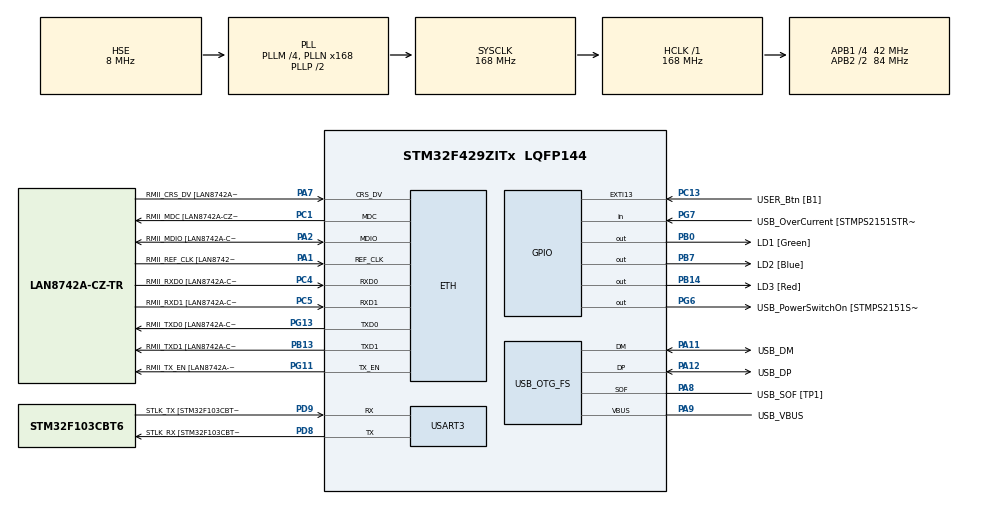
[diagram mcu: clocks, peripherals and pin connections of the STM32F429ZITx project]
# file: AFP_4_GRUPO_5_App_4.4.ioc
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ETH.MediaInterface=HAL_ETH_RMII_MODE
ETH.PHY_Name=LAN8742A_PHY_ADDRESS
ETH.PHY_Value=0
ETH.PhyAddress=0
Mcu.Family=STM32F4
Mcu.Name=STM32F429ZITx
Mcu.Package=LQFP144
NVIC.PriorityGroup=NVIC_PRIORITYGROUP_4
PA1.GPIO_Label=RMII_REF_CLK [LAN8742A-CZ-TR_REFCLK0]
PA1.Mode=RMII
PA1.Signal=ETH_REF_CLK
PA10.GPIO_Label=USB_ID
PA10.Signal=USB_OTG_FS_ID
PA11.GPIO_Label=USB_DM
PA11.Mode=Device_Only
PA11.Signal=USB_OTG_FS_DM
PA12.GPIO_Label=USB_DP
PA12.Mode=Device_Only
PA12.Signal=USB_OTG_FS_DP
PA13.GPIO_Label=TMS
PA13.Mode=Serial_Wire
PA13.Signal=SYS_JTMS-SWDIO
PA14.GPIO_Label=TCK
PA14.Mode=Serial_Wire
PA14.Signal=SYS_JTCK-SWCLK
PA2.GPIO_Label=RMII_MDIO [LAN8742A-CZ-TR_MDIO]
PA2.Mode=RMII
PA2.Signal=ETH_MDIO
PA7.GPIO_Label=RMII_CRS_DV [LAN8742A-CZ-TR_CRS_DV]
PA7.Mode=RMII
PA7.Signal=ETH_CRS_DV
PA8.GPIO_Label=USB_SOF [TP1]
PA8.Mode=Activate_SOF_FS
PA8.Signal=USB_OTG_FS_SOF
PA9.GPIO_Label=USB_VBUS
PA9.Mode=Activate_VBUS
PA9.Signal=USB_OTG_FS_VBUS
PB0.GPIO_Label=LD1 [Green]
PB0.Signal=GPIO_Output
PB13.GPIO_Label=RMII_TXD1 [LAN8742A-CZ-TR_TXD1]
PB13.Mode=RMII
PB13.Signal=ETH_TXD1
PB14.GPIO_Label=LD3 [Red]
PB14.Signal=GPIO_Output
PB7.GPIO_Label=LD2 [Blue]
PB7.Signal=GPIO_Output
PC1.GPIO_Label=RMII_MDC [LAN8742A-CZ-TR_MDC]
PC1.Mode=RMII
PC1.Signal=ETH_MDC
PC13.GPIO_Label=USER_Btn [B1]
PC13.Signal=GPXTI13
PC14/OSC32_IN.Mode=LSE-External-Oscillator
PC14/OSC32_IN.Signal=RCC_OSC32_IN
PC15/OSC32_OUT.Mode=LSE-External-Oscillator
PC15/OSC32_OUT.Signal=RCC_OSC32_OUT
PC4.GPIO_Label=RMII_RXD0 [LAN8742A-CZ-TR_RXD0]
PC4.Mode=RMII
PC4.Signal=ETH_RXD0
PC5.GPIO_Label=RMII_RXD1 [LAN8742A-CZ-TR_RXD1]
PC5.Mode=RMII
PC5.Signal=ETH_RXD1
PD8.GPIO_Label=STLK_RX [STM32F103CBT6_PA3]
PD8.Mode=Asynchronous
PD8.Signal=USART3_TX
PD9.GPIO_Label=STLK_TX [STM32F103CBT6_PA2]
PD9.Mode=Asynchronous
PD9.Signal=USART3_RX
PG11.GPIO_Label=RMII_TX_EN [LAN8742A-CZ-TR_TXEN]
PG11.Mode=RMII
PG11.Signal=ETH_TX_EN
PG13.GPIO_Label=RMII_TXD0 [LAN8742A-CZ-TR_TXD0]
PG13.Mode=RMII
PG13.Signal=ETH_TXD0
PG6.GPIO_Label=USB_PowerSwitchOn [STMPS2151STR_EN]
PG6.Signal=GPIO_Output
PG7.GPIO_Label=USB_OverCurrent [STMPS2151STR_FAULT]
PG7.Signal=GPIO_Input
PH0/OSC_IN.GPIO_Label=MCO [STM32F103CBT6_PA8]
PH0/OSC_IN.Mode=HSE-External-Clock-Source
PH0/OSC_IN.Signal=RCC_OSC_IN
PH1/OSC_OUT.Mode=HSE-External-Clock-Source
PH1/OSC_OUT.Signal=RCC_OSC_OUT
ProjectManager.HeapSize=0x200
ProjectManager.StackSize=0x400
ProjectManager.TargetToolchain=STM32CubeIDE
RCC.48MHZClocksFreq_Value=48000000
RCC.AHBFreq_Value=168000000
RCC.APB1CLKDivider=RCC_HCLK_DIV4
RCC.APB1Freq_Value=42000000
RCC.APB1TimFreq_Value=84000000
RCC.APB2CLKDivider=RCC_HCLK_DIV2
RCC.APB2Freq_Value=84000000
RCC.APB2TimCLKDivider=2
RCC.APB2TimFreq_Value=168000000
RCC.CortexFreq_Value=168000000
RCC.HCLKFreq_Value=168000000
RCC.HSE_VALUE=8000000
RCC.HSI_VALUE=16000000
RCC.PLLM=4
RCC.PLLMUL=RCC_PLL_MUL9
RCC.PLLN=168
RCC.PLLQ=7
RCC.PRESCALERUSB=RCC_USBCLKSOURCE_PLL_DIV1_5
RCC.SYSCLKFreq_VALUE=168000000
RCC.SYSCLKSource=RCC_SYSCLKSOURCE_PLLCLK
RCC.SYSCLKSourceVirtual=RCC_SYSCLKSOURCE_PLLCLK
RCC.USBFreq_Value=48000000
RCC.VCOOutputFreq_Value=336000000
USART3.VirtualMode=VM_ASYNC
USB_OTG_FS.VirtualMode=Device_Only
board=NUCLEO-F429ZI

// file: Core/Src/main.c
/* USER CODE BEGIN Header */
/**
  ******************************************************************************
  * @file           : main.c
  * @brief          : Main program body
  ******************************************************************************
  * @attention
  *
  * Copyright (c) 2024 STMicroelectronics.
  * All rights reserved.
  *
  * This software is licensed under terms that can be found in the LICENSE file
  * in the root directory of this software component.
  * If no LICENSE file comes with this software, it is provided AS-IS.
  *
  ******************************************************************************
  */
/* USER CODE END Header */
#include "main.h"
#include "string.h"
#include "API_debounce.h"
#include "API_GPIO.h"
#include "API_Delay.h"

ETH_TxPacketConfig TxConfig;
ETH_DMADescTypeDef  DMARxDscrTab[ETH_RX_DESC_CNT]; /* Ethernet Rx DMA Descriptors */
ETH_DMADescTypeDef  DMATxDscrTab[ETH_TX_DESC_CNT]; /* Ethernet Tx DMA Descriptors */

ETH_HandleTypeDef heth;

UART_HandleTypeDef huart3;

PCD_HandleTypeDef hpcd_USB_OTG_FS;

void SystemClock_Config(void);
void MX_GPIO_Init(void);
static void MX_ETH_Init(void);
static void MX_USART3_UART_Init(void);
static void MX_USB_OTG_FS_PCD_Init(void);

/* USER CODE BEGIN 0 */

int main(void)
{

  /* MCU Configuration--------------------------------------------------------*/

  /* Reset of all peripherals, Initializes the Flash interface and the Systick. */
  HAL_Init();

  /* Configure the system clock */
  SystemClock_Config();

  /* Initialize all configured peripherals */
  MX_GPIO_Init();
  MX_ETH_Init();
  MX_USART3_UART_Init();
  MX_USB_OTG_FS_PCD_Init();
  /* USER CODE BEGIN 2 */

  uint16_t vector_leds[CANT_LEDS] = {LD1_Pin, LD2_Pin, LD3_Pin};  //Vector que contiene los pines de los leds
  uint16_t frecuencias[frecuencias_casos] = {100, 250, 500 ,1000};
  uint8_t frecuencia_actual = 0;

  delay_t tiempo_sec;
  delayInit(&tiempo_sec, frecuencias[frecuencia_actual]);

  bool_t estado_led = false; // Almacena en que fase de la secuencia se encuentra el led. true-> Encendido, false-> Apagado.

  debounceFSM_Init();
  /* USER CODE END 2 */

  /* Infinite loop */
  /* USER CODE BEGIN WHILE */
  while (1)
  {

	  debounceFSM_Update();

	  if(readKey()){
		  if(frecuencia_actual == 3){
			  frecuencia_actual = 0;
		  }else{
			  frecuencia_actual++;
		  }
		  delayWrite(&tiempo_sec, frecuencias[frecuencia_actual]);
	  }

	  /* Secuencia */
	  if(delayRead(&tiempo_sec)){
		  if(estado_led){
			  for(int i=0;i<CANT_LEDS;i++){
				  writeLedOff_GPIO(vector_leds[i]);
			  }
			  estado_led = false;
		  }else{
			  for(int i=0;i<CANT_LEDS;i++){
				  writeLedOn_GPIO(vector_leds[i]);
			  }
			  estado_led = true;
		  }
	  }

    /* USER CODE END WHILE */

  }
}

void SystemClock_Config(void)
{
  RCC_OscInitTypeDef RCC_OscInitStruct = {0};
  RCC_ClkInitTypeDef RCC_ClkInitStruct = {0};

  /** Configure the main internal regulator output voltage
  */
  __HAL_RCC_PWR_CLK_ENABLE();
  __HAL_PWR_VOLTAGESCALING_CONFIG(PWR_REGULATOR_VOLTAGE_SCALE1);

  /** Initializes the RCC Oscillators according to the specified parameters
  * in the RCC_OscInitTypeDef structure.
  */
  RCC_OscInitStruct.OscillatorType = RCC_OSCILLATORTYPE_HSE;
  RCC_OscInitStruct.HSEState = RCC_HSE_BYPASS;
  RCC_OscInitStruct.PLL.PLLState = RCC_PLL_ON;
  RCC_OscInitStruct.PLL.PLLSource = RCC_PLLSOURCE_HSE;
  RCC_OscInitStruct.PLL.PLLM = 4;
  RCC_OscInitStruct.PLL.PLLN = 168;
  RCC_OscInitStruct.PLL.PLLP = RCC_PLLP_DIV2;
  RCC_OscInitStruct.PLL.PLLQ = 7;
  if (HAL_RCC_OscConfig(&RCC_OscInitStruct) != HAL_OK)
  {
    Error_Handler();
  }

  /** Initializes the CPU, AHB and APB buses clocks
  */
  RCC_ClkInitStruct.ClockType = RCC_CLOCKTYPE_HCLK|RCC_CLOCKTYPE_SYSCLK
                              |RCC_CLOCKTYPE_PCLK1|RCC_CLOCKTYPE_PCLK2;
  RCC_ClkInitStruct.SYSCLKSource = RCC_SYSCLKSOURCE_PLLCLK;
  RCC_ClkInitStruct.AHBCLKDivider = RCC_SYSCLK_DIV1;
  RCC_ClkInitStruct.APB1CLKDivider = RCC_HCLK_DIV4;
  RCC_ClkInitStruct.APB2CLKDivider = RCC_HCLK_DIV2;

  if (HAL_RCC_ClockConfig(&RCC_ClkInitStruct, FLASH_LATENCY_5) != HAL_OK)
  {
    Error_Handler();
  }
}

void MX_ETH_Init(void)
{

   static uint8_t MACAddr[6];

  heth.Instance = ETH;
  MACAddr[0] = 0x00;
  MACAddr[1] = 0x80;
  MACAddr[2] = 0xE1;
  MACAddr[3] = 0x00;
  MACAddr[4] = 0x00;
  MACAddr[5] = 0x00;
  heth.Init.MACAddr = &MACAddr[0];
  heth.Init.MediaInterface = HAL_ETH_RMII_MODE;
  heth.Init.TxDesc = DMATxDscrTab;
  heth.Init.RxDesc = DMARxDscrTab;
  heth.Init.RxBuffLen = 1524;

  if (HAL_ETH_Init(&heth) != HAL_OK)
  {
    Error_Handler();
  }

  memset(&TxConfig, 0 , sizeof(ETH_TxPacketConfig));
  TxConfig.Attributes = ETH_TX_PACKETS_FEATURES_CSUM | ETH_TX_PACKETS_FEATURES_CRCPAD;
  TxConfig.ChecksumCtrl = ETH_CHECKSUM_IPHDR_PAYLOAD_INSERT_PHDR_CALC;
  TxConfig.CRCPadCtrl = ETH_CRC_PAD_INSERT;

}

static void MX_USART3_UART_Init(void)
{

  huart3.Instance = USART3;
  huart3.Init.BaudRate = 115200;
  huart3.Init.WordLength = UART_WORDLENGTH_8B;
  huart3.Init.StopBits = UART_STOPBITS_1;
  huart3.Init.Parity = UART_PARITY_NONE;
  huart3.Init.Mode = UART_MODE_TX_RX;
  huart3.Init.HwFlowCtl = UART_HWCONTROL_NONE;
  huart3.Init.OverSampling = UART_OVERSAMPLING_16;
  if (HAL_UART_Init(&huart3) != HAL_OK)
  {
    Error_Handler();
  }

}

static void MX_USB_OTG_FS_PCD_Init(void)
{

  hpcd_USB_OTG_FS.Instance = USB_OTG_FS;
  hpcd_USB_OTG_FS.Init.dev_endpoints = 4;
  hpcd_USB_OTG_FS.Init.speed = PCD_SPEED_FULL;
  hpcd_USB_OTG_FS.Init.dma_enable = DISABLE;
  hpcd_USB_OTG_FS.Init.phy_itface = PCD_PHY_EMBEDDED;
  hpcd_USB_OTG_FS.Init.Sof_enable = ENABLE;
  hpcd_USB_OTG_FS.Init.low_power_enable = DISABLE;
  hpcd_USB_OTG_FS.Init.lpm_enable = DISABLE;
  hpcd_USB_OTG_FS.Init.vbus_sensing_enable = ENABLE;
  hpcd_USB_OTG_FS.Init.use_dedicated_ep1 = DISABLE;
  if (HAL_PCD_Init(&hpcd_USB_OTG_FS) != HAL_OK)
  {
    Error_Handler();
  }

}

void Error_Handler(void)
{
  __disable_irq();
  while (1)
  {
  }
}
